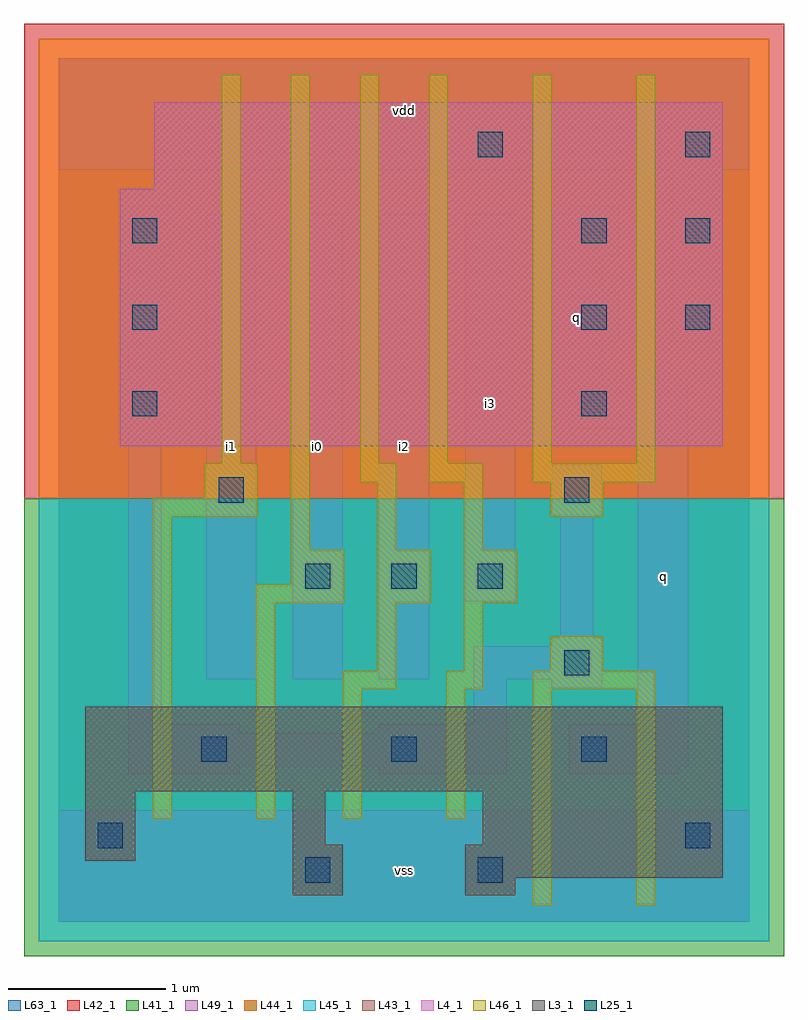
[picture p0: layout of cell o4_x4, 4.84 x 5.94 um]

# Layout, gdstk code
import gdstk
lib = gdstk.Library(unit=1e-6, precision=1e-09)
def R(c, l, rs):  # rectangles x0, y0, x1, y1
    for r in rs: c.add(gdstk.rectangle(r[:2], r[2:], *l))
def A(c, l, x, y, w, h, nx, ny, dx, dy):  # array of equal rectangles
    R(c, l, [(x+i*dx, y+j*dy, x+i*dx+w, y+j*dy+h) for i in range(nx) for j in range(ny)])
L3_1 = (3, 1)
L4_1 = (4, 1)
L25_1 = (25, 1)
L41_1 = (41, 1)
L42_1 = (42, 1)
L43_1 = (43, 1)
L44_1 = (44, 1)
L45_1 = (45, 1)
L46_1 = (46, 1)
L49_1 = (49, 1)
L63_1 = (63, 1)

o4_x4 = lib.new_cell('o4_x4')
R(o4_x4, L3_1, [(1.49,0.17,1.81,0.49), (2.59,0.17,2.91,0.28), (2.59,0.28,4.23,0.49), (0.17,0.39,0.49,0.83), (1.49,0.49,1.7,0.83), (2.7,0.49,4.23,0.83), (0.17,0.83,4.23,1.37)])
R(o4_x4, L4_1, [(0.39,3.03,4.23,4.67), (0.61,4.67,4.23,5.22)])
A(o4_x4, L25_1, 0.91, 1.02, 0.16, 0.16, 3, 1, 1.21, 0)
A(o4_x4, L25_1, 1.57, 2.12, 0.16, 0.16, 3, 1, 0.55, 0)
A(o4_x4, L25_1, 0.47, 3.22, 0.16, 0.16, 1, 3, 0, 0.55)
A(o4_x4, L25_1, 3.33, 3.22, 0.16, 0.16, 1, 3, 0, 0.55)
A(o4_x4, L25_1, 3.99, 3.77, 0.16, 0.16, 1, 3, 0, 0.55)
R(o4_x4, L25_1, [(1.57,0.25,1.73,0.41), (2.67,0.25,2.83,0.41), (0.25,0.47,0.41,0.63), (3.99,0.47,4.15,0.63), (3.22,1.57,3.38,1.73), (1.02,2.67,1.18,2.83), (3.22,2.67,3.38,2.83), (2.67,4.87,2.83,5.03)])
R(o4_x4, L41_1, [(-0.22,-0.22,4.62,2.695)])
R(o4_x4, L42_1, [(-0.22,2.695,4.62,5.72)])
R(o4_x4, L43_1, [(1.49,0.17,1.81,0.49), (2.59,0.17,2.91,0.28), (2.59,0.28,4.23,0.49), (0.17,0.39,0.49,0.83), (1.49,0.49,1.7,0.83), (2.7,0.49,4.23,0.83), (0.17,0.83,4.23,1.37), (0.39,3.03,4.23,4.67), (0.61,4.67,4.23,5.22)])
R(o4_x4, L44_1, [(-0.125,2.695,4.525,5.625)])
R(o4_x4, L45_1, [(-0.125,-0.125,4.525,2.695)])
A(o4_x4, L46_1, 2.36, 2.92, 0.12, 2.475, 3, 1, 0.66, 0)
R(o4_x4, L46_1, [(3.02,0.105,3.14,1.48), (3.68,0.105,3.8,1.48), (0.6,0.655,0.72,2.58), (1.26,0.655,1.38,2.03), (1.81,0.655,1.93,1.48), (2.47,0.655,2.59,1.48), (1.81,1.48,2.15,1.6), (2.47,1.48,2.7,1.6), (3.02,1.48,3.8,1.6), (2.03,1.6,2.15,2.03), (2.58,1.6,2.7,2.03), (3.13,1.6,3.47,1.82), (1.26,2.03,1.82,2.15), (2.03,2.03,2.37,2.37), (2.58,2.03,2.92,2.37), (1.48,2.15,1.82,2.37), (1.48,2.37,1.6,5.395), (2.03,2.37,2.15,2.8), (2.58,2.37,2.7,2.8), (0.6,2.58,1.27,2.7), (3.13,2.58,3.47,2.8), (0.93,2.7,1.27,2.92), (1.92,2.8,2.15,2.92), (2.36,2.8,2.7,2.92), (3.02,2.8,3.8,2.92), (1.04,2.92,1.16,5.395), (1.92,2.92,2.04,5.395)])
A(o4_x4, L49_1, 0.94, 1.545, 0.32, 2.96, 3, 1, 0.55, 0)
A(o4_x4, L49_1, 0.39, 3.14, 0.32, 0.32, 1, 3, 0, 0.55)
R(o4_x4, L49_1, [(0,0,4.4,0.71), (0.445,0.94,1.15,0.995), (2.04,0.94,2.855,0.995), (3.25,0.94,3.955,0.995), (0.445,0.995,2.855,1.205), (3.25,0.995,4.01,1.26), (0.445,1.205,1.15,1.26), (2.04,1.205,2.855,1.26), (0.445,1.26,0.655,3.14), (2.645,1.26,2.855,1.545), (3.69,1.26,4.01,3.14), (3.14,1.49,3.46,1.545), (2.645,1.545,3.46,1.755), (3.14,1.755,3.46,1.81), (3.195,1.81,3.405,2.59), (2.59,2.04,2.91,4.505), (3.14,2.59,3.46,2.91), (3.25,3.14,4.01,3.195), (3.14,3.195,4.01,3.46), (0.445,3.46,0.655,3.69), (3.14,3.46,3.46,3.69), (3.14,3.69,3.57,4.01), (3.91,3.69,4.23,4.79), (0.445,4.01,0.655,4.24), (3.14,4.01,3.46,4.24), (3.14,4.24,3.57,4.505), (3.25,4.505,3.57,4.56), (0,4.79,4.4,5.5)])
R(o4_x4, L63_1, [(0,0,4.4,5.5)])
o4_x4.add(gdstk.Label('i1', (1.1,3.025), layer=49, texttype=1))
o4_x4.add(gdstk.Label('i1', (1.1,3.025), layer=49, texttype=1))
o4_x4.add(gdstk.Label('i0', (1.65,3.025), layer=49, texttype=1))
o4_x4.add(gdstk.Label('i0', (1.65,3.025), layer=49, texttype=1))
o4_x4.add(gdstk.Label('vss', (2.2,0.33), layer=49, texttype=1))
o4_x4.add(gdstk.Label('vss', (2.2,0.33), layer=49, texttype=1))
o4_x4.add(gdstk.Label('i2', (2.2,3.025), layer=49, texttype=1))
o4_x4.add(gdstk.Label('i2', (2.2,3.025), layer=49, texttype=1))
o4_x4.add(gdstk.Label('q', (3.3,3.85), layer=49, texttype=1))
o4_x4.add(gdstk.Label('i3', (2.75,3.3), layer=49, texttype=1))
o4_x4.add(gdstk.Label('q', (3.3,3.85), layer=49, texttype=1))
o4_x4.add(gdstk.Label('i3', (2.75,3.3), layer=49, texttype=1))
o4_x4.add(gdstk.Label('vdd', (2.2,5.17), layer=49, texttype=1))
o4_x4.add(gdstk.Label('vdd', (2.2,5.17), layer=49, texttype=1))
o4_x4.add(gdstk.Label('q', (3.85,2.2), layer=49, texttype=1))
o4_x4.add(gdstk.Label('q', (3.85,2.2), layer=49, texttype=1))

lib.write_gds('o4_x4.gds')
